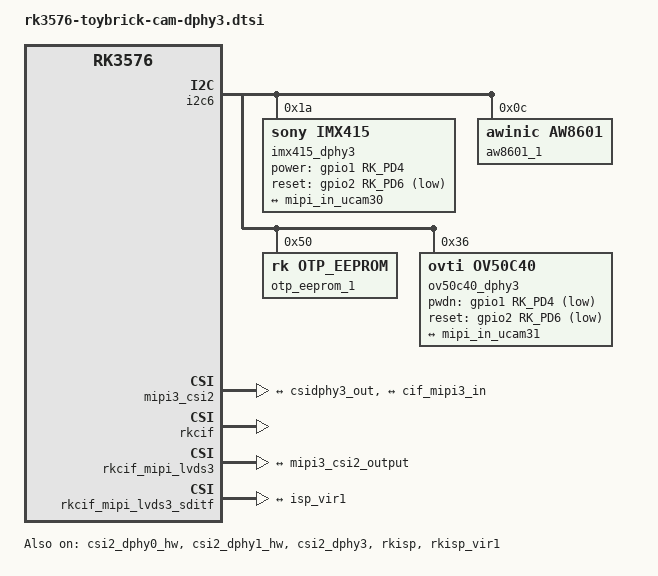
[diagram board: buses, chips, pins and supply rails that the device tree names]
// SPDX-License-Identifier: (GPL-2.0+ OR MIT)
/*
 * Copyright (c) 2024 Rockchip Electronics Co., Ltd.
 *
 */

&csi2_dphy0_hw {
	status = "okay";
};

&csi2_dphy1_hw {
	status = "okay";
};

&csi2_dphy3 {
	status = "okay";

	ports {
		#address-cells = <1>;
		#size-cells = <0>;
		port@0 {
			reg = <0>;
			#address-cells = <1>;
			#size-cells = <0>;

			mipi_in_ucam30: endpoint@1 {
				reg = <1>;
				remote-endpoint = <&imx415_out1>;
				data-lanes = <1 2 3 4>;
			};

			mipi_in_ucam31: endpoint@2 {
				reg = <2>;
				remote-endpoint = <&ov50c40_out1>;
				data-lanes = <1 2 3 4>;
			};
		};
		port@1 {
			reg = <1>;
			#address-cells = <1>;
			#size-cells = <0>;

			csidphy3_out: endpoint@0 {
				reg = <0>;
				remote-endpoint = <&mipi3_csi2_input>;
			};
		};
	};
};

&i2c6 {
	status = "okay";
	pinctrl-names = "default";
	pinctrl-0 = <&i2c6m1_xfer>;

	imx415_dphy3: imx415@1a {
		compatible = "sony,imx415";
		reg = <0x1a>;
		clocks = <&cru CLK_MIPI_CAMERAOUT_M2>;
		clock-names = "xvclk";
		pinctrl-names = "default";
		pinctrl-0 = <&cam_clk2m1_clk2>;
		power-domains = <&power RK3576_PD_VI>;
		power-gpios = <&gpio1 RK_PD4 GPIO_ACTIVE_HIGH>;
		reset-gpios = <&gpio2 RK_PD6 GPIO_ACTIVE_LOW>;
		rockchip,camera-module-index = <1>;
		rockchip,camera-module-facing = "back";
		rockchip,camera-module-name = "CMK-OT2022-PX1";
		rockchip,camera-module-lens-name = "IR0147-50IRC-8M-F20";
		port {
			imx415_out1: endpoint {
				remote-endpoint = <&mipi_in_ucam30>;
				data-lanes = <1 2 3 4>;
			};
		};
	};

	aw8601_1: aw8601@c {
		compatible = "awinic,aw8601";
		status = "okay";
		reg = <0x0c>;
		rockchip,vcm-start-current = <56>;
		rockchip,vcm-rated-current = <96>;
		rockchip,vcm-step-mode = <4>;
		rockchip,camera-module-index = <0>;
		rockchip,camera-module-facing = "back";
	};

	otp_eeprom_1: otp_eeprom@50 {
		compatible = "rk,otp_eeprom";
		status = "okay";
		reg = <0x50>;
	};

	ov50c40_dphy3: ov50c40@36 {
		compatible = "ovti,ov50c40";
		reg = <0x36>;
		clocks = <&cru CLK_MIPI_CAMERAOUT_M2>;
		clock-names = "xvclk";
		power-domains = <&power RK3576_PD_VI>;
		pinctrl-names = "default";
		pinctrl-0 = <&cam_clk2m1_clk2>;
		pwdn-gpios = <&gpio1 RK_PD4 GPIO_ACTIVE_LOW>;// must be high at last
		reset-gpios = <&gpio2 RK_PD6 GPIO_ACTIVE_LOW>;// must be high at last
		rockchip,camera-module-index = <0>;
		rockchip,camera-module-facing = "back";
		rockchip,camera-module-name = "HZGA06";
		rockchip,camera-module-lens-name = "ZE0082C1-RK3568";
		eeprom-ctrl = <&otp_eeprom_1>;
		lens-focus = <&aw8601_1>;
		port {
			ov50c40_out1: endpoint {
				remote-endpoint = <&mipi_in_ucam31>;
				data-lanes = <1 2 3 4>;
			};
		};
	};
};

&mipi3_csi2 {
	status = "okay";

	ports {
		#address-cells = <1>;
		#size-cells = <0>;

		port@0 {
			reg = <0>;
			#address-cells = <1>;
			#size-cells = <0>;

			mipi3_csi2_input: endpoint@1 {
				reg = <1>;
				remote-endpoint = <&csidphy3_out>;
			};
		};

		port@1 {
			reg = <1>;
			#address-cells = <1>;
			#size-cells = <0>;

			mipi3_csi2_output: endpoint@0 {
				reg = <0>;
				remote-endpoint = <&cif_mipi3_in>;
			};
		};
	};
};

&rkcif {
	status = "okay";
};

&rkcif_mipi_lvds3 {
	status = "okay";

	port {
		cif_mipi3_in: endpoint {
			remote-endpoint = <&mipi3_csi2_output>;
		};
	};
};

&rkcif_mipi_lvds3_sditf {
	status = "okay";

	port {
		mipi_lvds3_sditf: endpoint {
			remote-endpoint = <&isp_vir1>;
		};
	};
};

&rkcif_mmu {
	status = "okay";
};

&rkisp {
	status = "okay";
};

&rkisp_mmu {
	status = "okay";
};

&rkisp_vir1 {
	status = "okay";

	port {
		#address-cells = <1>;
		#size-cells = <0>;

		isp_vir1: endpoint@0 {
			reg = <0>;
			remote-endpoint = <&mipi_lvds3_sditf>;
		};
	};
};
